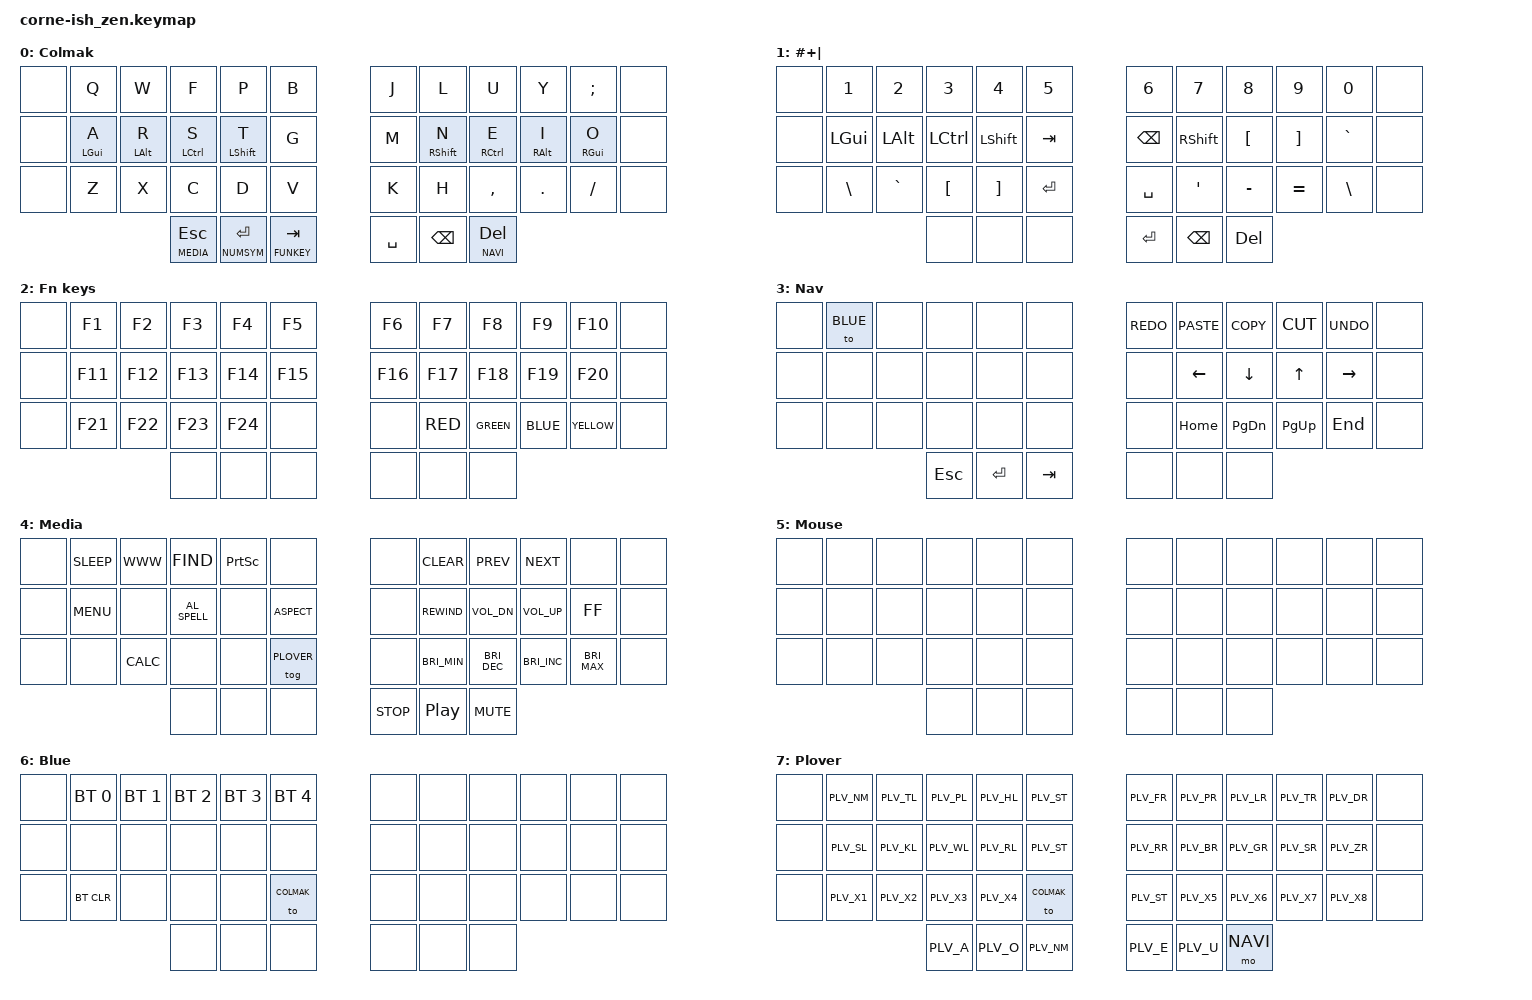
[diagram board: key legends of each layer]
/*
*
* Copyright (c) 2021 lowprokb.ca
* SPDX-License-Identifier: MIT
*
*/

#include <behaviors.dtsi>
#include <dt-bindings/zmk/keys.h>
#include <dt-bindings/zmk/bt.h>

#define COLMAK 0
#define NUMSYM 1
#define FUNKEY 2
#define NAVI   3
#define MEDIA  4
#define MOUSE  5
#define BLUE   6
#define PLOVER 7


/ {
  chosen {
    zmk,matrix_transform = &default_transform; // default for 3x6, five_column for 3x5
  };
};

/ {
    behaviors {
        hm: homerow_mods {
            compatible = "zmk,behavior-hold-tap";
            label = "HOMEROW_MODS";
            #binding-cells = <2>;
            tapping-term-ms = <200>;
            quick_tap_ms = <0>;
            flavor = "tap-preferred";
            bindings = <&kp>, <&kp>;
        };
    };
    keymap {
        compatible = "zmk,keymap";

         default_layer {
             label = "Colmak";
             bindings = <
                  &none     &kp      Q &kp      W &kp       F    &kp        P    &kp B              &kp J          &kp        L    &kp        U &kp      Y &kp   SEMI    &none
                  &none     &hm LGUI A &hm LALT R &hm LCTRL S    &hm LSHIFT T    &kp G              &kp M          &hm RSHIFT N    &hm  RCTRL E &hm RALT I &hm RGUI O    &none
                  &none     &kp      Z &kp      X &kp       C    &kp        D    &kp V              &kp K          &kp        H    &kp     CMMA &kp    DOT &kp   FSLH    &none
                                                  &lt MEDIA ESC  &lt NUMSYM RET  &lt FUNKEY TAB     &kp       SPC  &kp       BSPC  &lt NAVI DEL
             >;
         };

   //     default_layer {
   //          label = "STENOMAK";
   //          bindings = <
   //                 &none   &kp      Q &kp      W &kp       F    &kp        P    &kp          B     &kp         J  &kp         L   &kp       U &kp      Y  &kp      Z    &none
   //                 &none   &hm LGUI A &hm LALT R &hm LCTRL S    &hm LSHIFT T    &kp          G     &kp         M  &hm RSHIFT  N   &hm RCTRL E &hm RALT I  &hm RGUI O    &none
   //                 &none   &kp   FSLH &kp   SEMI &kp       X    &kp        C    &kp          V     &kp         D  &kp         H   &kp       K &kp    CMMA &kp    DOT    &none
   //                                               &lt MEDIA ESC  &lt NUMSYM RET  &lt FUNKEY TAB     &kp       SPC  &lt NAVI BSPC   &kp     DEL
   //          >;
   //      };

        numsym_layer {
            label = "#+|";
            bindings = <
                  &none   &kp   N1 &kp   N2  &kp    N3 &kp     N4 &kp N5       &kp N6   &kp N7     &kp N8    &kp N9    &kp N0         &none
                  &none   &kp LGUI &kp LALT  &kp LCTRL &kp LSHIFT &kp TAB      &kp BSPC &kp RSHIFT &kp LBKT  &kp RBKT  &kp GRAVE      &none
                  &none   &kp BSLH &kp GRAVE &kp LBKT  &kp   RBKT &kp RET      &kp SPC  &kp SQT    &kp MINUS &kp EQUAL &kp BSLH       &none
                                             &none     &none      &none        &kp RET  &kp BSPC   &kp DEL

            >;
        };

        function_layer {
            label = "Fn keys";
            bindings = <
              &none   &kp F1  &kp F2  &kp F3  &kp F4  &kp F5        &kp F6  &kp F7    &kp F8      &kp F9     &kp F10            &none
              &none   &kp F11 &kp F12 &kp F13 &kp F14 &kp F15       &kp F16 &kp F17   &kp F18     &kp F19    &kp F20            &none
              &none   &kp F21 &kp F22 &kp F23 &kp F24 &none         &none   &kp C_RED &kp C_GREEN &kp C_BLUE &kp C_YELLOW       &none
                                      &none   &none   &none         &none   &none   &none
            >;
        };

        extended_layer {
            label = "  Nav";
            bindings = <
              &none   &to BLUE    &none  &none   &none   &none           &kp K_REDO &kp K_PASTE &kp K_COPY &kp K_CUT &kp K_UNDO    &none
              &none   &none       &none  &none   &none   &none           &none      &kp LEFT    &kp DOWN   &kp UP    &kp RIGHT     &none
              &none   &none       &none  &none   &none   &none           &none      &kp HOME    &kp PG_DN  &kp PG_UP &kp END       &none
                                    &kp ESC &kp RET &kp TAB         &none      &none       &none
            >;
        };


        media_layer {
            label = "Media";
            bindings = <
              &none   &kp K_SLEEP &kp K_WWW   &kp K_FIND     &kp PSCRN   &none                &none       &kp CLEAR     &kp C_PREV    &kp C_NEXT    &none               &none
              &none   &kp K_MENU  &none       &kp C_AL_SPELL &none       &kp C_ASPECT         &none       &kp C_REWIND  &kp C_VOL_DN  &kp C_VOL_UP  &kp C_FF            &none
              &none   &none       &kp K_CALC  &none          &none       &tog PLOVER          &none       &kp C_BRI_MIN &kp C_BRI_DEC &kp C_BRI_INC &kp C_BRI_MAX       &none
                                              &none          &none       &none                &kp C_STOP  &kp C_PLAY_PAUSE &kp C_MUTE
            >;
        };

        mouse_layer {
            label = "Mouse";
            bindings = <
              &none   &none      &none        &none        &none        &none                &none    &none     &none     &none     &none    &none
              &none   &none      &none        &none        &none        &none                &none    &none     &none     &none     &none    &none
              &none   &none      &none        &none        &none        &none                &none    &none     &none     &none     &none    &none
                                              &none        &none        &none                &none    &none     &none
            >;
        };

        blue_layer {
            label = "Blue";
            bindings = <  // 0:laptop 1:phone 2:asya 3:office 4:empty
              &none   &bt BT_SEL 0 &bt BT_SEL 1 &bt BT_SEL 2 &bt BT_SEL 3 &bt BT_SEL 4        &none    &none     &none     &none     &none    &none
              &none   &none        &none        &none        &none        &none               &none    &none     &none     &none     &none    &none
              &none   &bt BT_CLR   &none        &none        &none        &to COLMAK          &none    &none     &none     &none     &none    &none
                                                &none        &none        &none               &none    &none     &none
            >;
        };

        plover_layer {
            label = "Plover";
            bindings = <
                   &none   &kp PLV_NM  &kp PLV_TL  &kp PLV_PL  &kp PLV_HL  &kp PLV_ST         &kp PLV_FR  &kp PLV_PR  &kp PLV_LR  &kp PLV_TR  &kp PLV_DR   &none
                   &none   &kp PLV_SL  &kp PLV_KL  &kp PLV_WL  &kp PLV_RL  &kp PLV_ST         &kp PLV_RR  &kp PLV_BR  &kp PLV_GR  &kp PLV_SR  &kp PLV_ZR   &none
                   &none   &kp PLV_X1  &kp PLV_X2  &kp PLV_X3  &kp PLV_X4  &to COLMAK         &kp PLV_ST  &kp PLV_X5  &kp PLV_X6  &kp PLV_X7  &kp PLV_X8   &none
                                                   &kp  PLV_A  &kp  PLV_O  &kp PLV_NM         &kp  PLV_E  &kp  PLV_U  &mo   NAVI

            >;
        };

    };
};
